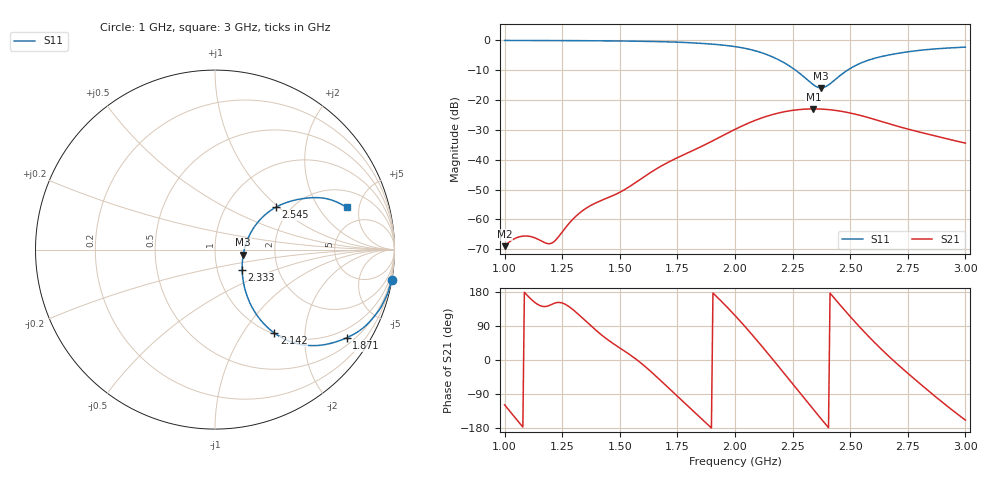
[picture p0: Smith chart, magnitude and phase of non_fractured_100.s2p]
! TOUCHSTONE file generated by CST MICROWAVE STUDIO
! Date and time: Sat Mar  8 13:54:39 2025
! Project name: non_fractured.cst
! Parameters = {B=2.5; D=160; F=10; Feed=2.85625; L=100; M=10; R=0.384908; S=1; Theta=270; length=57.125; wave=114.25}
! Header version: 2024
! Port assignment regex: !\s*Touchstone port\s*([0-9]+)\s*=\s*(CST MWS port|CST DES external port|CST DES block port)\s*(.+)\s* \(\"(.*)\"\)(\s*mode\s*([0-9]+))?.*
! Touchstone port assignment:
! Touchstone port 1 = CST MWS port 1 ("")
! Touchstone port 2 = CST MWS port 2 ("")
# GHz S DB R 50
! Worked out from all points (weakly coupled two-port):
!   304 points, 1 GHz to 3 GHz, reference 50 ohm
!   highest |S21| = -22.96 dB at 2.34 GHz (marker M1); lowest = -69.0 dB at 1 GHz (marker M2)
!   lowest |S11| = -15.9 dB at 2.373 GHz (marker M3), VSWR 1.38, Z = 68.5 - j4.03 ohm
!   |S11| at or under -10 dB: 2.263 GHz to 2.488 GHz (225 MHz wide, 9.47 % of centre)
!   S12 and S22 are empty: the file has one direction only
!   S11 on the Smith chart (normalised r, x): 1 GHz: 0, -12; 1.871 GHz: 0.71, -3.14; 2.142 GHz: 1.02, -1.40; 2.333 GHz: 1.32, -0.31; 2.545 GHz: 1.69, +0.96; 3 GHz: 3.23, +3.75
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1  -0.02 -9.8  -69.00 -118.3  -200.00 0.0  -200.00 0.0
1.0396  -0.02 -10.3  -66.61 -148.1  -200.00 0.0  -200.00 0.0
1.08581  -0.03 -11.0  -65.59 178.6  -200.00 0.0  -200.00 0.0
1.12541  -0.04 -11.6  -66.05 154.7  -200.00 0.0  -200.00 0.0
1.18482  -0.04 -12.5  -68.12 142.0  -200.00 0.0  -200.00 0.0
1.20462  -0.05 -12.8  -67.97 146.8  -200.00 0.0  -200.00 0.0
1.33663  -0.09 -15.3  -57.20 111.5  -200.00 0.0  -200.00 0.0
1.51485  -0.20 -19.5  -50.31 25.8  -200.00 0.0  -200.00 0.0
1.66667  -0.40 -24.3  -42.72 -48.2  -200.00 0.0  -200.00 0.0
1.87129  -1.09 -33.9  -34.93 -164.4  -200.00 0.0  -200.00 0.0
2.0033  -2.11 -42.9  -29.71 115.3  -200.00 0.0  -200.00 0.0
2.14191  -4.87 -54.6  -25.34 17.9  -200.00 0.0  -200.00 0.0
2.24092  -8.81 -57.0  -23.56 -55.9  -200.00 0.0  -200.00 0.0
2.33333  -14.47 -36.8  -22.97 -125.3  -200.00 0.0  -200.00 0.0
2.33993  -14.86 -33.2  -22.96 -130.2  -200.00 0.0  -200.00 0.0
2.37294  -15.93 -10.3  -23.02 -154.6  -200.00 0.0  -200.00 0.0
2.39934  -15.28 8.6  -23.16 -174.0  -200.00 0.0  -200.00 0.0
2.48515  -10.14 34.0  -24.11 124.9  -200.00 0.0  -200.00 0.0
2.54455  -7.64 34.8  -25.17 84.9  -200.00 0.0  -200.00 0.0
2.66997  -4.85 29.9  -27.98 8.4  -200.00 0.0  -200.00 0.0
2.83498  -3.06 23.2  -31.39 -79.0  -200.00 0.0  -200.00 0.0
3  -2.25 17.7  -34.42 -158.6  -200.00 0.0  -200.00 0.0
